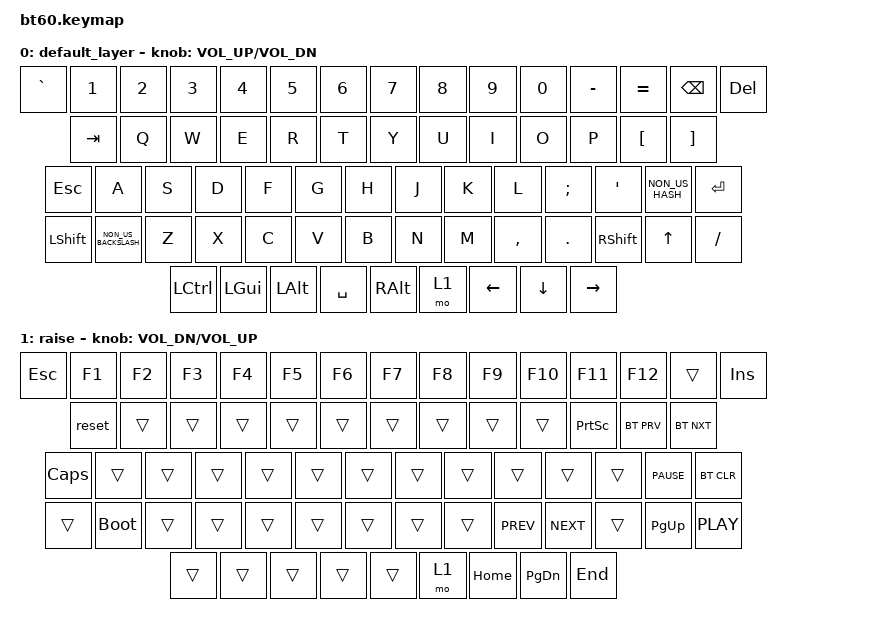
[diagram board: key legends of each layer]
#include <behaviors.dtsi>
#include <dt-bindings/zmk/keys.h>
#include <dt-bindings/zmk/bt.h>
#include <dt-bindings/zmk/rgb.h>
#include <dt-bindings/zmk/backlight.h>

/ {
keymap {
		compatible = "zmk,keymap";

		default_layer {
				// ----------------------------------------------------------------------------------------
				// | ` |  1  |  2  |  3  |  4  |  5  |  6  |  7  |  8  |  9  |  0  |  -  |  =  | BK | DEL |
				// | TAB |  Q  |  W  |  E  |  R  |  T  |  Y  |  U  |  I  |  O  |  P  |  [  |  ]  |  ISO   |
				// | ESC  |  A  |  S  |  D  |  F  |  G  |  H  |  J  |  K  |  L  |  ;  |  '  |  #  | ENTER |
				// | LSHIFT | \ |  |  Z  |  X  |  C  |  V  |  B  |  N  |  M  |  ,  |  .  | RSHIFT| UP | / |
				// |  CTL  |  WIN  |  ALT  |                     SPACE          | ALT |  1 |  LE | DO | RI| 
				// ----------------------------------------------------------------------------------------
			bindings = <
				&kp GRAVE &kp N1 &kp N2 &kp N3 &kp N4 &kp N5 &kp N6 &kp N7 &kp N8 &kp N9 &kp N0 &kp MINUS &kp EQUAL &kp BSPC &kp DEL
				&kp TAB  &kp Q  &kp W  &kp E &kp R  &kp T  &kp Y  &kp U  &kp  I   &kp  O  &kp  P   &kp LBKT &kp RBKT
				&kp ESC  &kp A  &kp S  &kp D  &kp F  &kp G  &kp H  &kp J  &kp  K   &kp  L  &kp SEMI &kp SQT  &kp NON_US_HASH  &kp RET
				&kp LSHFT &kp NON_US_BACKSLASH &kp Z &kp X &kp C &kp V &kp B &kp N &kp M &kp COMMA &kp DOT &kp RSHFT &kp UP &kp FSLH
				&kp LCTRL &kp LGUI &kp LALT            &kp SPACE                          &kp RALT &mo 1 &kp LEFT &kp DOWN &kp RIGHT 
			>;
			sensor-bindings = <&inc_dec_kp C_VOL_UP C_VOL_DN>;
		};
		raise {
				// ╭─────┬──────┬──────┬──────┬──────┬──────┬─────┬────┬────┬────┬─────┬─────┬───┬──────┬─────╮
				// | ESC |  F1  |  F2  |  F3  |  F4  |  F5  |  F6 | F7 | F8 | F9 | F10 | F11 |F12| BKSP | INS |
				// | RST  | Q |  W  |  E  |  R  |  T  |  Y  |  U  |  I  |  O  | PSCRN | BTPRV | BTNXT |  ISO  |
				// | CAPSLCK |  A  |  S  |  D  |  F  |  G  |  H  |  J  |  K  |  L  |  ;  |PAUSE|BTCLR | ENTER |
				// |LSHIFT|BTLDR|  |  Z  |  X  |  C  |  V  |  B  |  N  | M | PREV | NEXT | RSHIFT | PGUP |PLAY|
				// | CTRL | WIN | ALT |               SPACE                   | ALT |  1   | HOME | PGDN| END |
				// ╰──────┴─────┴─────┴───────────────────────────────────────┴─────┴──────┴──────┴─────┴─────╯ 
			bindings = <
				&kp ESC &kp F1 &kp F2 &kp F3 &kp F4 &kp F5 &kp F6 &kp F7 &kp  F8   &kp  F9 &kp  F10  &kp F11 &kp F12 &trans &kp INS
				&reset &trans &trans &trans &trans &trans &trans &trans &trans &trans &kp PSCRN &bt BT_PRV &bt BT_NXT
				&kp CAPS &trans &trans &trans &trans &trans &trans &trans &trans &trans &trans &trans &kp C_PAUSE &bt BT_CLR
				&trans &bootloader &trans &trans &trans &trans &trans &trans &trans &kp C_PREV &kp C_NEXT &trans &kp PG_UP &kp C_PLAY
				&trans &trans &trans              &trans                          &trans &mo 1 &kp HOME &kp PG_DN &kp END 
			>;
			sensor-bindings = <&inc_dec_kp C_VOL_DN C_VOL_UP>;
		};
	};
};
